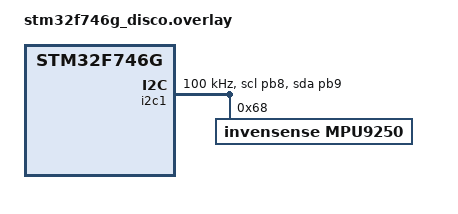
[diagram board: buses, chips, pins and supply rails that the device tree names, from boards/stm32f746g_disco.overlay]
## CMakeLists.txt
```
# SPDX-License-Identifier: Apache-2.0
cmake_minimum_required(VERSION 3.20.0)
find_package(Zephyr REQUIRED HINTS $ENV{ZEPHYR_BASE})
project(blinky)

set(NO_THREADSAFE_STATICS $<TARGET_PROPERTY:compiler-cpp,no_threadsafe_statics>)
zephyr_compile_options($<$<COMPILE_LANGUAGE:CXX>:${NO_THREADSAFE_STATICS}>)

file(GLOB app_sources src/*)
target_sources(app PRIVATE ${app_sources})
```

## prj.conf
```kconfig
CONFIG_I2C=y
CONFIG_SENSOR=y
CONFIG_MPU9250=y
CONFIG_FPU=y
CONFIG_FPU_SHARING=y
CONFIG_LOG=y
CONFIG_I2C_LOG_LEVEL_DBG=y
CONFIG_SENSOR_LOG_LEVEL_DBG=y
CONFIG_MPU9250_MAGN_EN=n
CONFIG_CPP=y
CONFIG_STD_CPP17=y
CONFIG_TENSORFLOW_LITE_MICRO=y
```

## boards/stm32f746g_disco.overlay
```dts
&i2c1 {
    status = "okay";
    clock-frequency = <I2C_BITRATE_STANDARD>; // 100kHz
    pinctrl-0=<&i2c1_scl_pb8 &i2c1_sda_pb9>;
    pinctrl-names = "default";

    mpu9250@68 {
        compatible = "invensense,mpu9250";
        reg = <0x68>; /* Inquiry: What does 'reg' represent here? */
        gyro-sr-div = <0>;
        gyro-dlpf = <250>;
        gyro-fs = <250>;
        accel-fs = <2>;
        accel-dlpf = "218.1";

    };
};
```

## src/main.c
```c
#include <zephyr/kernel.h>
#include <zephyr/device.h>
#include <zephyr/drivers/sensor.h>
#include <stdio.h>
#include <zephyr/drivers/i2c.h>
#include <zephyr/drivers/gpio.h>    


#define MY_GPIO_NODE DT_NODELABEL(toggle)
#define MY_GPIO_NODE_BUTTON DT_NODELABEL(my_button)
#define DEBOUNCE_MS         50   


static const struct gpio_dt_spec toggle_gpio = GPIO_DT_SPEC_GET(MY_GPIO_NODE, gpios);
static const struct gpio_dt_spec btn = GPIO_DT_SPEC_GET(MY_GPIO_NODE_BUTTON, gpios);

const struct device *const mpu9250 = DEVICE_DT_GET_ANY(invensense_mpu9250);
                                       
static struct gpio_callback button_cb_data;   

struct sample_window {
	struct sensor_value windows[20][3];
};


// queue carries sample windows, can carry 4 sample windows at a time
K_MSGQ_DEFINE(windows_msgq, sizeof(struct sample_window), 4, 1);

// sesnor_value is zephyr specific: value can be obtained using the formula val1 + val2 * 10^(-6)
struct sensor_value accel[3];

struct k_timer my_timer;
int counter =0;

static struct k_work_delayable debounce_work;

K_SEM_DEFINE(sample_sem, 0, 1);



static void debounce_handler(struct k_work *work)
{
    int val = gpio_pin_get_dt(&btn);
    if (val < 0) {
        return;
    }

    // if in input taking state
    if (val == 1) {
        if (k_timer_remaining_get(&my_timer) == 0) {
            // start timer of 20Hz
            k_timer_start(&my_timer, K_MSEC(50), K_MSEC(50));
        } else {
            k_timer_stop(&my_timer);
        }
       // printf("Button pressed\n");
    }
}

// when button pressed, schedule debounce work
void button_pressed(const struct device *dev, struct gpio_callback *cb,
		    uint32_t pins) {
	k_work_reschedule(&debounce_work, K_MSEC(DEBOUNCE_MS));
            }


// when timer triggered
void my_timer_handler(struct k_timer *dummy)
{
	// instead of submitting to a work queue
    // k_work_submit(&my_work);

	// timer now signals a producer thread
	k_sem_give(&sample_sem);

}

K_TIMER_DEFINE(my_timer, my_timer_handler, NULL);

void producer_thread(void *a, void *b, void *c) {
	struct sample_window sw = {0};
    while (1) {
        k_sem_take(&sample_sem, K_FOREVER); // block until told to sample
		
		// gpio for checking timer
		gpio_pin_toggle_dt(&toggle_gpio);

		// fetch sample
        int rc = sensor_sample_fetch(mpu9250);
		if (rc == 0) {
			rc = sensor_channel_get(mpu9250, SENSOR_CHAN_ACCEL_XYZ, accel);
		}
        
		for(int i=19; i > 0; i--) {
            memcpy(sw.windows[i], sw.windows[i-1], sizeof(sw.windows[0]));
		}
        memcpy(sw.windows[0], accel, sizeof(accel));
		k_msgq_put(&windows_msgq, &sw, K_NO_WAIT);

		// if (rc == 0) {
		// 				counter++;

		// 	printf("%d,%lld,%d.%06d,%d.%06d,%d.%06d\n", 
		// 		counter,
		// 		uptime_ms,
		// 		accel[0].val1, abs(accel[0].val2), 
		// 		accel[1].val1, abs(accel[1].val2), 
		// 		accel[2].val1, abs(accel[2].val2));
		// } else {
		// 	printf("sample fetch/get failed: %d\n", rc);
		// }

        // push to a message queue instead of printf-ing directly
        // k_msgq_put(&accel_msgq, &accel, K_NO_WAIT);
    }
}

K_THREAD_DEFINE(producer, 1024, producer_thread, NULL, NULL, NULL, 5, 0, 0);

void consumer_thread(void *a, void *b, void *c) {

	struct sample_window sw;
	struct sensor_value xyz[3];

	
	while(1) {
		k_msgq_get(&windows_msgq, &sw, K_FOREVER); // dont want to miss any samples

		printf("Starting new window\n");

		for(int i=0; i<20; i++) {
			int64_t uptime_ms = k_uptime_get();

			xyz[0] = sw.windows[i][0];
			xyz[1] = sw.windows[i][1];
			xyz[2] = sw.windows[i][2];
			printf("%lld, %d.%06d,%d.%06d,%d.%06d\n", 
				uptime_ms,
				xyz[0].val1, abs(xyz[0].val2), 
				xyz[1].val1, abs(xyz[1].val2), 
				xyz[2].val1, abs(xyz[2].val2));
		}
	}
	
}

K_THREAD_DEFINE(consumer, 1024, consumer_thread, NULL, NULL, NULL, 7, 0, 0);



int main(void)
{	
	k_work_init_delayable(&debounce_work, debounce_handler);
	int ret = gpio_pin_configure_dt(&btn, GPIO_INPUT);


	if (ret < 0) {
		return 0;
	}

    ret = gpio_pin_interrupt_configure_dt(&btn, GPIO_INT_EDGE_BOTH);
    if (ret < 0) {
		return 0;
	}

    gpio_init_callback(&button_cb_data, button_pressed, BIT(btn.pin));
	gpio_add_callback(btn.port, &button_cb_data);

	if(!gpio_is_ready_dt(&toggle_gpio)) {
		return 0;
	}

	gpio_pin_configure_dt(&toggle_gpio, GPIO_OUTPUT_INACTIVE);

    const struct device *i2c_dev = DEVICE_DT_GET(DT_NODELABEL(i2c1));

	uint8_t reg = 0x75;
	uint8_t chipId = 0;

	i2c_write_read(i2c_dev, 0x68, &reg, 1, &chipId, 1);

	// printk("WHO_AM_I = 0x%02x\n", chipId);

    if (!mpu9250 || !device_is_ready(mpu9250)) {
        printk("Device is not ready or not found\n");
        return 0;
    }
}
```

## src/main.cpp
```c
#include <zephyr/kernel.h>
#include <zephyr/device.h>
#include <zephyr/drivers/sensor.h>
#include <stdio.h>
#include <zephyr/drivers/i2c.h>
#include <zephyr/drivers/gpio.h>    
#include <math.h>
#include <string.h>

#include "main_functions.h"


#include <tensorflow/lite/micro/micro_interpreter.h>
#include <tensorflow/lite/micro/micro_log.h>
#include <tensorflow/lite/schema/schema_generated.h>

extern TfLiteTensor *input;
extern TfLiteTensor *output;
extern tflite::MicroInterpreter *interpreter;



#define MY_GPIO_NODE DT_NODELABEL(toggle)
#define MY_GPIO_NODE_BUTTON DT_NODELABEL(my_button)
#define DEBOUNCE_MS         50   


static const struct gpio_dt_spec toggle_gpio = GPIO_DT_SPEC_GET(MY_GPIO_NODE, gpios);
static const struct gpio_dt_spec btn = GPIO_DT_SPEC_GET(MY_GPIO_NODE_BUTTON, gpios);

const struct device *const mpu9250 = DEVICE_DT_GET_ANY(invensense_mpu9250);
                                       
static struct gpio_callback button_cb_data;   

struct sample_window {
	struct sensor_value windows[20][3];
};


// queue carries sample windows, can carry 4 sample windows at a time
K_MSGQ_DEFINE(windows_msgq, sizeof(struct sample_window), 4, 1);

K_THREAD_STACK_DEFINE(producer_stack, 4096);
K_THREAD_STACK_DEFINE(consumer_stack, 8192);
static struct k_thread producer_data;
static struct k_thread consumer_data;



// struct k_timer my_timer;
int counter =0;

static struct k_work_delayable debounce_work;

K_SEM_DEFINE(sample_sem, 0, 1);

// when timer triggered
void my_timer_handler(struct k_timer *dummy)
{
	// timer now signals a producer thread
	k_sem_give(&sample_sem);

}

K_TIMER_DEFINE(my_timer, my_timer_handler, NULL);

static void debounce_handler(struct k_work *work)
{
    int val = gpio_pin_get_dt(&btn);
    if (val < 0) {
        return;
    }

    // if in input taking state
    if (val == 1) {
        if (k_timer_remaining_get(&my_timer) == 0) {
            // start timer of 20Hz
            k_timer_start(&my_timer, K_MSEC(50), K_MSEC(50));
        } else {
            k_timer_stop(&my_timer);
        }
       // printf("Button pressed\n");
    }
}

// when button pressed, schedule debounce work
void button_pressed(const struct device *dev, struct gpio_callback *cb,
		    uint32_t pins) {
	k_work_reschedule(&debounce_work, K_MSEC(DEBOUNCE_MS));
            }




void producer_thread(void *a, void *b, void *c) {
	// sesnor_value is zephyr specific: value can be obtained using the formula val1 + val2 * 10^(-6)
	struct sensor_value accel[3];

	struct sample_window sw = {0};
    while (1) {
        k_sem_take(&sample_sem, K_FOREVER); // block until told to sample
		
		// gpio for checking timer
		gpio_pin_toggle_dt(&toggle_gpio);

		// fetch sample
        int rc = sensor_sample_fetch(mpu9250);
		if (rc == 0) {
			rc = sensor_channel_get(mpu9250, SENSOR_CHAN_ACCEL_XYZ, accel);
		}
        
		for(int i=19; i > 0; i--) {
            memcpy(sw.windows[i], sw.windows[i-1], sizeof(sw.windows[0]));
		}
        memcpy(sw.windows[0], accel, sizeof(accel));
		k_msgq_put(&windows_msgq, &sw, K_NO_WAIT);
    }
}


void consumer_thread(void *a, void *b, void *c) {
	struct sample_window sw;
	struct sensor_value xyz[3];

	
	while(1) {
		k_msgq_get(&windows_msgq, &sw, K_FOREVER); // dont want to miss any samples

		// guard against failed setup
        if (input == nullptr || output == nullptr || interpreter == nullptr) {
            printk("TFLite not initialized\n");
            continue;
        }

		// give the window to the model
		// before we were giving one input. now we will give 60 (20*3)
		for (int i = 0; i < 20; i++) {
			for (int j = 0; j < 3; j++) {
				// sensor_value to float (val1 + val2/1000000.0)
				float raw = sw.windows[i][j].val1 + 
							sw.windows[i][j].val2 / 1000000.0f;
				
				// apply same normalization as training
				float X_min = -9.8f;
				float X_max =  9.8f;
				float normalized = 2.0f * (raw - X_min) / (X_max - X_min) - 1.0f;
				
				// then quantize the normalized value
				int8_t quantized = (int8_t)round(normalized / input->params.scale)
								+ input->params.zero_point;
				input->data.int8[i * 3 + j] = quantized;
			}
		}

		uint32_t t_start = k_cycle_get_32(); //start timer
		
		TfLiteStatus invoke_status = interpreter->Invoke();
		if (invoke_status != kTfLiteOk) {
			MicroPrintf("Invoke failed\n");
			return;
		}
		
		uint32_t t_end = k_cycle_get_32(); //end timer
		uint32_t cycles = t_end - t_start; 
		uint32_t freq = sys_clock_hw_cycles_per_sec();
		uint32_t latency_ms= (uint32_t)(((uint64_t)cycles * 1000U) / freq);
		
		// obtain the score for each and convert to float
		const char* poses[] = {"Pose 1", "Pose 2", "Pose 3", "Pose 4", "Pose 5"};
		float maxScore = 0;
		int maxIdx = 0;
		for (int i = 0; i < 5; i++) {
			float score = (output->data.int8[i] - output->params.zero_point) 
						* output->params.scale;
			if(score > maxScore) {
				maxScore = score;
				maxIdx = i;
			}
			printf("Pose %d: %f, ", i+1, score);
		}
		printf("\n");
		printf("Predicted Pose: %s | Score: %f | Latency: %u ms\n", poses[maxIdx], maxScore, latency_ms);
		printf("\n");


	}

	

	
}


int main(void)
{	
	// from main_functions
	// setting up model, allocating tensors
	setup();

	
	k_work_init_delayable(&debounce_work, debounce_handler);
	int ret = gpio_pin_configure_dt(&btn, GPIO_INPUT);


	if (ret < 0) {
		return 0;
	}

    ret = gpio_pin_interrupt_configure_dt(&btn, GPIO_INT_EDGE_BOTH);
    if (ret < 0) {
		return 0;
	}

    gpio_init_callback(&button_cb_data, button_pressed, BIT(btn.pin));
	gpio_add_callback(btn.port, &button_cb_data);

	if(!gpio_is_ready_dt(&toggle_gpio)) {
		return 0;
	}

	gpio_pin_configure_dt(&toggle_gpio, GPIO_OUTPUT_INACTIVE);

    const struct device *i2c_dev = DEVICE_DT_GET(DT_NODELABEL(i2c1));

	uint8_t reg = 0x75;
	uint8_t chipId = 0;

	i2c_write_read(i2c_dev, 0x68, &reg, 1, &chipId, 1);

	// printk("WHO_AM_I = 0x%02x\n", chipId);

    if (!mpu9250 || !device_is_ready(mpu9250)) {
        printk("Device is not ready or not found\n");
        return 0;
    }

	k_thread_create(&producer_data, producer_stack, K_THREAD_STACK_SIZEOF(producer_stack),
                	producer_thread, NULL, NULL, NULL, 5, 0, K_NO_WAIT);

	k_thread_create(&consumer_data, consumer_stack, K_THREAD_STACK_SIZEOF(consumer_stack),
					consumer_thread, NULL, NULL, NULL, 7, 0, K_NO_WAIT);	



}
```

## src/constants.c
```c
/*
 * Copyright 2020 The TensorFlow Authors. All Rights Reserved.
 *
 * Licensed under the Apache License, Version 2.0 (the "License");
 * you may not use this file except in compliance with the License.
 * You may obtain a copy of the License at
 *
 *     http://www.apache.org/licenses/LICENSE-2.0
 *
 * Unless required by applicable law or agreed to in writing, software
 * distributed under the License is distributed on an "AS IS" BASIS,
 * WITHOUT WARRANTIES OR CONDITIONS OF ANY KIND, either express or implied.
 * See the License for the specific language governing permissions and
 * limitations under the License.
 */

#include "constants.h"

/* This is a small number so that it's easy to read the logs */
const int kInferencesPerCycle = 100;
```

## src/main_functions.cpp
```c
/*
 * Copyright 2020 The TensorFlow Authors. All Rights Reserved.
 *
 * Licensed under the Apache License, Version 2.0 (the "License");
 * you may not use this file except in compliance with the License.
 * You may obtain a copy of the License at
 *
 *     http://www.apache.org/licenses/LICENSE-2.0
 *
 * Unless required by applicable law or agreed to in writing, software
 * distributed under the License is distributed on an "AS IS" BASIS,
 * WITHOUT WARRANTIES OR CONDITIONS OF ANY KIND, either express or implied.
 * See the License for the specific language governing permissions and
 * limitations under the License.
 *
 * Copyright (c) 2025 Aerlync Labs Inc.
 */

#include "main_functions.h"

#include <tensorflow/lite/micro/micro_mutable_op_resolver.h>
#include <zephyr/kernel.h>

#include "constants.h"
// #include "dense_quantized_model.h"
#ifdef CONFIG_USE_CNN_MODEL
    #include "../models/cnn/cnn_quantized_model.h"
#else
    #include "../models/dense/dense_quantized_model.h"
#endif

#include "output_handler.hpp"
#include <tensorflow/lite/micro/micro_log.h>
#include <tensorflow/lite/micro/micro_interpreter.h>
#include <tensorflow/lite/micro/system_setup.h>
#include <tensorflow/lite/schema/schema_generated.h>


/* Globals, used for compatibility with Arduino-style sketches. */
namespace {
	const tflite::Model *model = nullptr;
	int inference_count = 0;
	// constexpr int kTensorArenaSize = 60 * 1024; // 60KB

	#ifdef CONFIG_USE_CNN_MODEL
		constexpr int kTensorArenaSize = 100 * 1024;
	#else
		constexpr int kTensorArenaSize = 60 * 1024;
	#endif
	// constexpr int kTensorArenaSize = 2000;
	uint8_t tensor_arena[kTensorArenaSize];
}  /* namespace */

TfLiteTensor *input = nullptr;
TfLiteTensor *output = nullptr;
tflite::MicroInterpreter *interpreter = nullptr;
uint32_t t_start_full = 0;  

/* The name of this function is important for Arduino compatibility. */
void setup(void)
{
	/* Map the model into a usable data structure. This doesn't involve any
	 * copying or parsing, it's a very lightweight operation.
	 */
	t_start_full = k_cycle_get_32(); //start end-to-end timer

	MicroPrintf("setup: starting");
	// model = tflite::GetModel(dense_quantized_model);
	#ifdef CONFIG_USE_CNN_MODEL
		model = tflite::GetModel(cnn_quantized_model);
	#else
		model = tflite::GetModel(dense_quantized_model);
	#endif

	    MicroPrintf("setup: model loaded");


	if (model->version() != TFLITE_SCHEMA_VERSION) {
		MicroPrintf("Model provided is schema version %d not equal "
					"to supported version %d.",
					model->version(), TFLITE_SCHEMA_VERSION);
		return;
	}

	    MicroPrintf("setup: schema ok");
	/* This pulls in the operation implementations we need.
	 * NOLINTNEXTLINE(runtime-global-variables)
	 */
	// static tflite::MicroMutableOpResolver <3> resolver;
	// resolver.AddFullyConnected();
	// resolver.AddReshape();
	// resolver.AddSoftmax();
	// // resolver.AddTanh();                                  // add this

	#ifdef CONFIG_USE_CNN_MODEL
		static tflite::MicroMutableOpResolver<5> resolver;
		resolver.AddConv2D();
		resolver.AddMaxPool2D();
		resolver.AddFullyConnected();
		resolver.AddReshape();
		resolver.AddSoftmax();
	#else
		static tflite::MicroMutableOpResolver<3> resolver;
		resolver.AddFullyConnected();
		resolver.AddReshape();
		resolver.AddSoftmax();
	#endif

	    MicroPrintf("setup: resolver ok");

	/* Build an interpreter to run the model with. */
	static tflite::MicroInterpreter static_interpreter(
		model, resolver, tensor_arena, kTensorArenaSize);
	interpreter = &static_interpreter;

	    MicroPrintf("setup: interpreter ok");

	/* Allocate memory from the tensor_arena for the model's tensors. */
	TfLiteStatus allocate_status = interpreter->AllocateTensors();
	if (allocate_status != kTfLiteOk) {
		MicroPrintf("AllocateTensors() failed");
		return;
	}

	MicroPrintf("setup: tensors allocated, arena used: %d",
                interpreter->arena_used_bytes());

	/* Obtain pointers to the model's input and output tensors. */
	input = interpreter->input(0);
	output = interpreter->output(0);

	/* Keep track of how many inferences we have performed. */
	inference_count = 0;

	    MicroPrintf("setup: complete");
}
```

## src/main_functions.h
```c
/*
 * Copyright 2020 The TensorFlow Authors. All Rights Reserved.
 *
 * Licensed under the Apache License, Version 2.0 (the "License");
 * you may not use this file except in compliance with the License.
 * You may obtain a copy of the License at
 *
 *     http://www.apache.org/licenses/LICENSE-2.0
 *
 * Unless required by applicable law or agreed to in writing, software
 * distributed under the License is distributed on an "AS IS" BASIS,
 * WITHOUT WARRANTIES OR CONDITIONS OF ANY KIND, either express or implied.
 * See the License for the specific language governing permissions and
 * limitations under the License.
 */

#ifndef TENSORFLOW_LITE_MICRO_EXAMPLES_HELLO_WORLD_MAIN_FUNCTIONS_H_
#define TENSORFLOW_LITE_MICRO_EXAMPLES_HELLO_WORLD_MAIN_FUNCTIONS_H_
#include <cstdint>

uint32_t t_start_full;


/* Expose a C friendly interface for main functions. */
#ifdef __cplusplus
extern "C" {
#endif

/* Initializes all data needed for the example. The name is important, and needs
 * to be setup() for Arduino compatibility.
 */
void setup(void);

/* Runs one iteration of data gathering and inference. This should be called
 * repeatedly from the application code. The name needs to be loop() for Arduino
 * compatibility.
 */
// void loop(void);

#ifdef __cplusplus
}
#endif

#endif /* TENSORFLOW_LITE_MICRO_EXAMPLES_HELLO_WORLD_MAIN_FUNCTIONS_H_ */
```

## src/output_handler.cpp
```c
/*
 * Copyright 2020 The TensorFlow Authors. All Rights Reserved.
 *
 * Licensed under the Apache License, Version 2.0 (the "License");
 * you may not use this file except in compliance with the License.
 * You may obtain a copy of the License at
 *
 *     http://www.apache.org/licenses/LICENSE-2.0
 *
 * Unless required by applicable law or agreed to in writing, software
 * distributed under the License is distributed on an "AS IS" BASIS,
 * WITHOUT WARRANTIES OR CONDITIONS OF ANY KIND, either express or implied.
 * See the License for the specific language governing permissions and
 * limitations under the License.
 */

#include "output_handler.hpp"

void HandleOutput(float x_value, float y_value)
{
	/* Log the current X and Y values */
	MicroPrintf("%f, %f",
			    static_cast < double > (x_value),
			    static_cast < double > (y_value));
}
```
